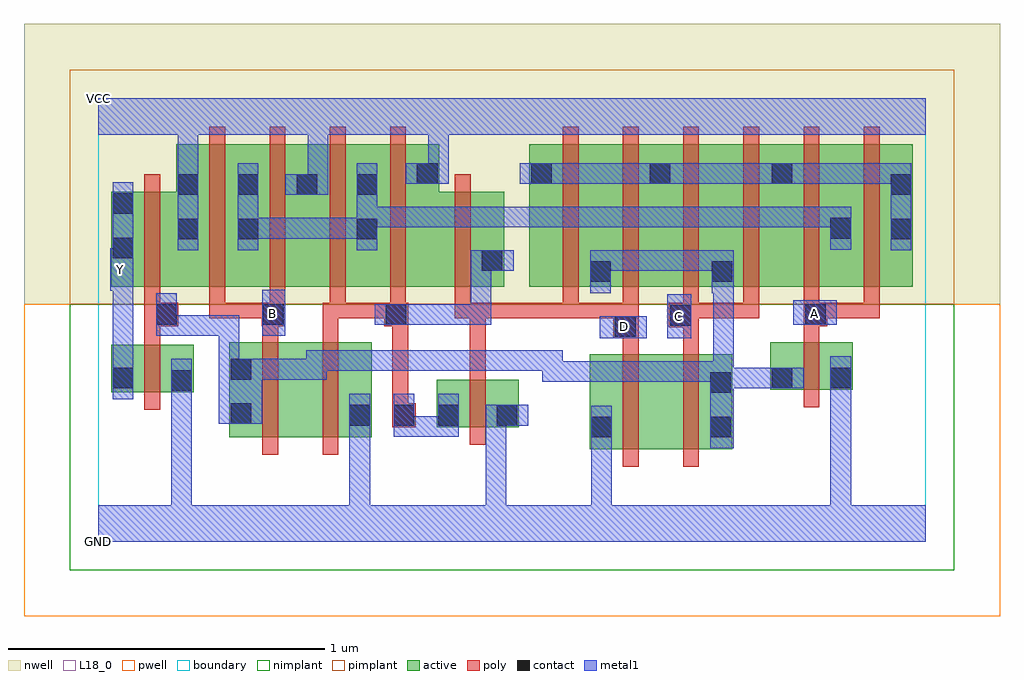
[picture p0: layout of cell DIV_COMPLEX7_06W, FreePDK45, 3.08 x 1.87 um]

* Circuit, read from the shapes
.subckt DIV_COMPLEX7_06W A B C D GND VCC Y
M1 GND n1 Y VSUBS nfet w=0.15u l=0.05u
M2 n2 B n1 VSUBS nfet w=0.3u l=0.05u
M3 GND n3 n2 VSUBS nfet w=0.3u l=0.05u
M4 GND D n3 VSUBS nfet w=0.15u l=0.05u
M5 n4 D GND VSUBS nfet w=0.3u l=0.05u
M6 n1 C n4 VSUBS nfet w=0.3u l=0.05u
M7 GND A n1 VSUBS nfet w=0.15u l=0.05u
M8 VCC n1 Y n5 pfet w=0.3u l=0.05u
M9 n6 B VCC n5 pfet w=0.45u l=0.05u m=2
M10 n6 n3 VCC n5 pfet w=0.45u l=0.05u m=2
M11 n3 D VCC n5 pfet w=0.3u l=0.05u
M12 n1 D n7 n5 pfet w=0.45u l=0.05u m=2
M13 n1 C n7 n5 pfet w=0.45u l=0.05u m=2
M14 n6 A n7 n5 pfet w=0.45u l=0.05u m=2
.ends

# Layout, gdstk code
import gdstk
lib = gdstk.Library(unit=1e-6, precision=1e-09)
def R(c, l, rs):  # rectangles x0, y0, x1, y1
    for r in rs: c.add(gdstk.rectangle(r[:2], r[2:], *l))
def A(c, l, x, y, w, h, nx, ny, dx, dy):  # array of equal rectangles
    R(c, l, [(x+i*dx, y+j*dy, x+i*dx+w, y+j*dy+h) for i in range(nx) for j in range(ny)])
active = (1, 0)
pwell = (2, 0)
nwell = (3, 0)
nimplant = (4, 0)
pimplant = (5, 0)
poly = (9, 0)
contact = (10, 0)
metal1 = (11, 0)
L18_0 = (18, 0)
boundary = (235, 0)

div_complex7_06w = lib.new_cell('DIV_COMPLEX7_06W')
R(div_complex7_06w, active, [(1.55,0.292,1.775,0.592), (1.55,0.292,1.625,0.547), (1.775,0.292,2,0.592), (1.925,0.325,2,0.592), (0.412,0.33,0.637,0.63), (0.412,0.33,0.487,0.63), (0.637,0.33,0.862,0.63), (0.787,0.33,0.862,0.63), (1.067,0.362,1.142,0.512), (1.067,0.362,1.327,0.512), (1.252,0.362,1.327,0.512), (0.04,0.472,0.115,0.622), (0.04,0.472,0.3,0.622), (0.225,0.472,0.3,0.622), (2.12,0.48,2.195,0.63), (2.12,0.48,2.38,0.63), (2.305,0.48,2.38,0.63), (0.04,0.805,0.115,1.105), (0.04,0.805,0.32,1.105), (0.245,0.805,0.51,1.255), (0.245,0.805,0.32,1.255), (0.435,0.805,0.695,1.255), (0.62,0.805,0.885,1.255), (0.81,0.805,1.075,1.255), (1,0.805,1.28,1.105), (1.36,0.805,1.622,1.255), (1.547,0.805,1.622,0.94), (1.547,0.805,1.81,1.255), (1.735,0.805,1.81,1.2), (1.735,0.805,2.005,1.255), (1.93,0.805,2.195,1.255), (1.93,0.805,2.005,0.94), (2.12,0.805,2.195,1.2), (2.12,0.805,2.38,1.255), (2.305,0.805,2.57,1.255), (2.305,0.805,2.38,1.07), (2.495,0.805,2.57,1.2), (1.205,0.85,1.28,0.94), (0.435,0.857,0.51,1.2), (0.62,0.857,0.695,1.255), (0.81,0.857,0.885,1.2), (1.36,0.857,1.435,1.2), (1,0.865,1.075,1.255)])
R(div_complex7_06w, pwell, [(-0.235,-0.235,2.845,0.75)])
R(div_complex7_06w, nwell, [(-0.235,0.75,2.845,1.635)])
R(div_complex7_06w, nimplant, [(-0.09,-0.09,2.7,0.75)])
R(div_complex7_06w, pimplant, [(-0.09,0.75,2.7,1.49)])
A(div_complex7_06w, poly, 0.35, 0.705, 0.05, 0.095, 4, 1, 0.19, 0)
A(div_complex7_06w, poly, 1.465, 0.705, 0.05, 0.095, 6, 1, 0.19, 0)
A(div_complex7_06w, poly, 0.35, 0.75, 0.05, 0.56, 4, 1, 0.19, 0)
A(div_complex7_06w, poly, 1.465, 0.75, 0.05, 0.56, 6, 1, 0.19, 0)
R(div_complex7_06w, poly, [(1.655,0.237,1.705,0.647), (1.845,0.237,1.895,0.647), (0.517,0.275,0.567,0.685), (0.707,0.275,0.757,0.685), (1.172,0.307,1.222,0.567), (0.927,0.362,1.002,0.437), (0.927,0.387,0.977,0.73), (0.145,0.417,0.195,0.677), (2.225,0.425,2.275,0.685), (1.172,0.517,1.222,0.755), (1.655,0.597,1.705,0.692), (1.845,0.597,1.895,0.727), (0.145,0.627,0.195,0.73), (0.517,0.635,0.567,0.73), (0.707,0.635,0.757,0.755), (2.225,0.635,2.275,0.73), (1.625,0.642,1.705,0.755), (1.8,0.677,1.895,0.755), (0.145,0.68,0.252,0.755), (0.515,0.68,0.59,0.755), (0.902,0.68,0.977,0.755), (0.927,0.68,0.977,0.73), (0.927,0.68,0.977,0.73), (2.225,0.68,2.3,0.755), (0.145,0.705,0.195,0.8), (0.35,0.705,0.4,0.755), (0.35,0.705,0.565,0.755), (0.515,0.705,0.565,0.755), (0.515,0.705,0.565,0.755), (0.707,0.705,0.78,0.755), (0.73,0.705,0.78,0.755), (0.73,0.705,0.78,0.755), (0.73,0.705,0.952,0.755), (1.125,0.705,1.175,0.8), (1.125,0.705,1.222,0.755), (1.172,0.705,1.382,0.755), (1.332,0.705,1.382,0.755), (1.332,0.705,1.382,0.755), (1.332,0.705,1.382,0.755), (1.332,0.705,1.515,0.755), (1.465,0.705,1.515,0.755), (1.465,0.705,1.675,0.755), (1.625,0.705,1.675,0.755), (1.625,0.705,1.675,0.755), (1.845,0.705,1.895,0.755), (1.845,0.705,1.895,0.755), (1.845,0.705,2.085,0.755), (2.035,0.705,2.085,0.755), (2.25,0.705,2.465,0.755), (2.415,0.705,2.465,0.755), (2.415,0.705,2.465,0.755), (2.415,0.705,2.465,0.755), (0.145,0.75,0.195,1.16), (1.125,0.75,1.175,1.16)])
A(div_complex7_06w, contact, 0.792, 0.367, 0.065, 0.065, 3, 1, 0.14, 0)
R(div_complex7_06w, contact, [(1.555,0.33,1.62,0.395), (1.93,0.33,1.995,0.395), (1.257,0.367,1.322,0.432), (0.417,0.372,0.482,0.437), (1.93,0.47,1.995,0.535), (0.23,0.477,0.295,0.542), (0.045,0.485,0.11,0.55), (2.125,0.485,2.19,0.55), (2.31,0.485,2.375,0.55), (0.417,0.512,0.482,0.577), (1.63,0.647,1.695,0.712), (1.805,0.682,1.87,0.747), (0.182,0.685,0.247,0.75), (0.52,0.685,0.585,0.75), (0.907,0.685,0.972,0.75), (2.23,0.685,2.295,0.75), (1.552,0.82,1.617,0.885), (1.935,0.82,2,0.885), (1.21,0.855,1.275,0.92), (0.045,0.895,0.11,0.96), (0.25,0.955,0.315,1.02), (0.44,0.955,0.505,1.02), (0.815,0.955,0.88,1.02), (2.5,0.955,2.565,1.02), (2.31,0.957,2.375,1.022), (0.045,1.035,0.11,1.1), (0.25,1.095,0.315,1.16), (0.44,1.095,0.505,1.16), (0.625,1.095,0.69,1.16), (0.815,1.095,0.88,1.16), (2.5,1.095,2.565,1.16), (1.005,1.13,1.07,1.195), (1.365,1.13,1.43,1.195), (1.74,1.13,1.805,1.195), (2.125,1.13,2.19,1.195)])
A(div_complex7_06w, metal1, 0.792, 0.332, 0.065, 0.135, 3, 1, 0.14, 0)
R(div_complex7_06w, metal1, [(0,0,2.61,0.115), (0.23,0.05,0.295,0.115), (0.23,0.05,0.295,0.115), (0.23,0.05,0.295,0.115), (0.23,0.05,0.295,0.115), (0.23,0.05,0.295,0.115), (0.23,0.05,0.295,0.115), (0.23,0.05,0.295,0.507), (0.792,0.05,0.857,0.115), (0.792,0.05,0.857,0.115), (0.792,0.05,0.857,0.397), (1.222,0.05,1.287,0.115), (1.222,0.05,1.287,0.115), (1.222,0.05,1.287,0.115), (1.222,0.05,1.287,0.115), (1.222,0.05,1.287,0.432), (1.555,0.05,1.62,0.115), (1.555,0.05,1.62,0.115), (1.555,0.05,1.62,0.36), (2.31,0.05,2.375,0.115), (2.31,0.05,2.375,0.115), (2.31,0.05,2.375,0.115), (2.31,0.05,2.375,0.115), (2.31,0.05,2.375,0.115), (2.31,0.05,2.375,0.115), (2.31,0.05,2.375,0.515), (1.555,0.295,1.62,0.36), (1.555,0.295,1.62,0.36), (1.555,0.295,1.62,0.43), (1.93,0.295,2.005,0.57), (0.792,0.332,0.857,0.397), (0.792,0.332,0.857,0.397), (0.932,0.332,1.137,0.397), (1.222,0.367,1.287,0.432), (1.222,0.367,1.287,0.432), (1.222,0.367,1.357,0.432), (0.38,0.372,0.517,0.577), (0.23,0.442,0.295,0.577), (0.045,0.45,0.11,0.585), (2.31,0.45,2.375,0.585), (1.94,0.485,2.007,0.55), (1.942,0.485,2.007,0.55), (1.942,0.485,2.155,0.55), (2.09,0.485,2.225,0.55), (1.4,0.505,1.602,0.57), (1.4,0.505,1.465,0.605), (1.537,0.505,1.602,0.57), (1.537,0.505,1.602,0.57), (1.537,0.505,1.602,0.57), (1.537,0.505,1.755,0.57), (1.69,0.505,1.755,0.57), (1.69,0.505,1.755,0.57), (1.69,0.505,1.755,0.57), (1.69,0.505,1.995,0.57), (1.94,0.505,2.005,0.85), (0.38,0.512,0.445,0.715), (0.452,0.512,0.522,0.577), (0.457,0.512,0.522,0.577), (0.457,0.512,0.72,0.577), (0.655,0.512,0.72,0.605), (0.045,0.52,0.11,0.857), (0.655,0.54,0.72,0.605), (0.655,0.54,0.72,0.605), (0.655,0.54,0.88,0.605), (0.815,0.54,0.88,0.605), (0.815,0.54,1.017,0.605), (0.952,0.54,1.017,0.605), (0.952,0.54,1.017,0.605), (0.952,0.54,1.017,0.605), (0.952,0.54,1.24,0.605), (1.175,0.54,1.24,0.605), (1.175,0.54,1.24,0.605), (1.175,0.54,1.24,0.605), (1.175,0.54,1.377,0.605), (1.312,0.54,1.377,0.605), (1.312,0.54,1.465,0.605), (1.582,0.642,1.73,0.712), (1.795,0.642,1.87,0.782), (0.182,0.65,0.247,0.715), (0.182,0.65,0.247,0.715), (0.182,0.65,0.247,0.785), (0.182,0.65,0.385,0.715), (0.32,0.65,0.385,0.715), (0.32,0.65,0.445,0.715), (0.38,0.65,0.445,0.715), (0.517,0.65,0.59,0.795), (0.872,0.685,1.007,0.75), (0.942,0.685,1.017,0.75), (0.952,0.685,1.017,0.75), (0.952,0.685,1.24,0.75), (1.175,0.685,1.24,0.75), (1.175,0.685,1.24,0.75), (1.175,0.685,1.24,0.75), (1.175,0.685,1.24,0.92), (2.192,0.685,2.33,0.762), (1.552,0.785,1.617,0.92), (1.935,0.785,2.005,0.92), (1.94,0.785,2.005,0.85), (1.94,0.785,2.005,0.85), (0.037,0.792,0.11,0.927), (1.175,0.855,1.31,0.92), (1.552,0.855,1.617,0.92), (1.552,0.855,1.617,0.92), (1.552,0.855,1.857,0.92), (1.792,0.855,1.857,0.92), (1.792,0.855,1.857,0.92), (1.792,0.855,1.857,0.92), (1.792,0.855,2,0.92), (0.045,0.86,0.11,0.925), (0.045,0.86,0.11,1.135), (0.25,0.92,0.315,1.195), (0.44,0.92,0.505,1.195), (0.815,0.92,0.88,1.195), (2.5,0.92,2.565,1.195), (2.31,0.922,2.375,1.057), (0.44,0.957,0.522,1.022), (0.457,0.957,0.522,1.022), (0.457,0.957,0.66,1.022), (0.595,0.957,0.66,1.022), (0.595,0.957,0.66,1.022), (0.595,0.957,0.66,1.022), (0.595,0.957,0.88,1.022), (0.815,0.992,0.88,1.057), (0.815,0.992,0.88,1.057), (0.815,0.992,1.017,1.057), (0.952,0.992,1.017,1.057), (0.952,0.992,1.017,1.057), (0.952,0.992,1.017,1.057), (0.952,0.992,1.155,1.057), (1.09,0.992,1.155,1.057), (1.09,0.992,1.327,1.057), (1.262,0.992,1.327,1.057), (1.262,0.992,1.377,1.057), (1.312,0.992,1.377,1.057), (1.312,0.992,1.465,1.057), (1.4,0.992,1.465,1.057), (1.4,0.992,1.617,1.057), (1.552,0.992,1.617,1.057), (1.552,0.992,1.617,1.057), (1.552,0.992,1.617,1.057), (1.552,0.992,1.857,1.057), (1.792,0.992,1.857,1.057), (1.792,0.992,1.857,1.057), (1.792,0.992,1.857,1.057), (1.792,0.992,2.007,1.057), (1.942,0.992,2.007,1.057), (1.942,0.992,2.007,1.057), (1.942,0.992,2.007,1.057), (1.942,0.992,2.145,1.057), (2.08,0.992,2.145,1.057), (2.08,0.992,2.145,1.057), (2.08,0.992,2.145,1.057), (2.08,0.992,2.375,1.057), (2.31,0.992,2.375,1.057), (2.31,0.992,2.375,1.057), (0.59,1.095,0.725,1.16), (0.66,1.095,0.725,1.35), (0.25,1.13,0.315,1.35), (0.97,1.13,1.105,1.195), (1.04,1.13,1.105,1.35), (1.33,1.13,1.465,1.195), (1.4,1.13,1.465,1.195), (1.4,1.13,1.465,1.195), (1.4,1.13,1.617,1.195), (1.552,1.13,1.617,1.195), (1.552,1.13,1.617,1.195), (1.552,1.13,1.617,1.195), (1.552,1.13,1.77,1.195), (1.705,1.13,1.84,1.195), (1.775,1.13,1.84,1.195), (1.775,1.13,1.84,1.195), (1.775,1.13,2.007,1.195), (1.942,1.13,2.007,1.195), (1.942,1.13,2.007,1.195), (1.942,1.13,2.007,1.195), (1.942,1.13,2.155,1.195), (2.09,1.13,2.225,1.195), (2.16,1.13,2.362,1.195), (2.297,1.13,2.362,1.195), (2.297,1.13,2.362,1.195), (2.297,1.13,2.362,1.195), (2.297,1.13,2.565,1.195), (2.5,1.13,2.565,1.195), (2.5,1.13,2.565,1.195), (0,1.285,2.61,1.4)])
R(div_complex7_06w, L18_0, [(0,0,2.61,0.115), (0.23,0.05,0.295,0.115), (0.23,0.05,0.295,0.115), (0.23,0.05,0.295,0.115), (0.23,0.05,0.295,0.115), (0.23,0.05,0.295,0.115), (0.23,0.05,0.295,0.115), (0.23,0.05,0.295,0.507), (0.792,0.05,0.857,0.115), (0.792,0.05,0.857,0.115), (0.792,0.05,0.857,0.397), (1.222,0.05,1.287,0.115), (1.222,0.05,1.287,0.115), (1.222,0.05,1.287,0.115), (1.222,0.05,1.287,0.115), (1.222,0.05,1.287,0.432), (1.555,0.05,1.62,0.115), (1.555,0.05,1.62,0.115), (1.555,0.05,1.62,0.36), (2.31,0.05,2.375,0.115), (2.31,0.05,2.375,0.115), (2.31,0.05,2.375,0.115), (2.31,0.05,2.375,0.115), (2.31,0.05,2.375,0.115), (2.31,0.05,2.375,0.115), (2.31,0.05,2.375,0.515), (1.555,0.295,1.62,0.43), (1.555,0.295,1.62,0.36), (1.555,0.295,1.62,0.36), (0.792,0.332,0.857,0.467), (0.792,0.332,0.857,0.397), (0.792,0.332,0.857,0.397), (1.222,0.367,1.287,0.432), (1.222,0.367,1.287,0.432), (1.222,0.367,1.357,0.432), (0.23,0.442,0.295,0.577), (0.045,0.45,0.11,0.585), (2.31,0.45,2.375,0.585), (0.045,0.52,0.11,0.857), (1.582,0.642,1.73,0.712), (1.795,0.642,1.87,0.782), (1.627,0.647,1.692,0.712), (0.517,0.65,0.59,0.795), (1.797,0.677,1.862,0.742), (2.192,0.685,2.33,0.762), (0.517,0.687,0.582,0.752), (2.227,0.687,2.292,0.752), (0.037,0.792,0.11,0.927), (0.037,0.827,0.102,0.892), (0.045,0.86,0.11,1.135), (0.045,0.86,0.11,0.925), (0.25,0.92,0.315,1.195), (0.59,1.095,0.725,1.16), (0.66,1.095,0.725,1.35), (0.25,1.13,0.315,1.35), (0.97,1.13,1.105,1.195), (1.04,1.13,1.105,1.35), (0,1.285,2.61,1.4)])
R(div_complex7_06w, boundary, [(0,0,2.61,1.4)])
div_complex7_06w.add(gdstk.Label('A', (2.26,0.72), layer=11, texttype=0))
div_complex7_06w.add(gdstk.Label('B', (0.55,0.72), layer=11, texttype=0))
div_complex7_06w.add(gdstk.Label('C', (1.83,0.71), layer=11, texttype=0))
div_complex7_06w.add(gdstk.Label('D', (1.66,0.68), layer=11, texttype=0))
div_complex7_06w.add(gdstk.Label('Y', (0.07,0.86), layer=11, texttype=0))
div_complex7_06w.add(gdstk.Label('VCC', (0,1.4), layer=11, texttype=0))
div_complex7_06w.add(gdstk.Label('GND', (0,0), layer=11, texttype=0))

lib.write_gds('DIV_COMPLEX7_06W.gds')
